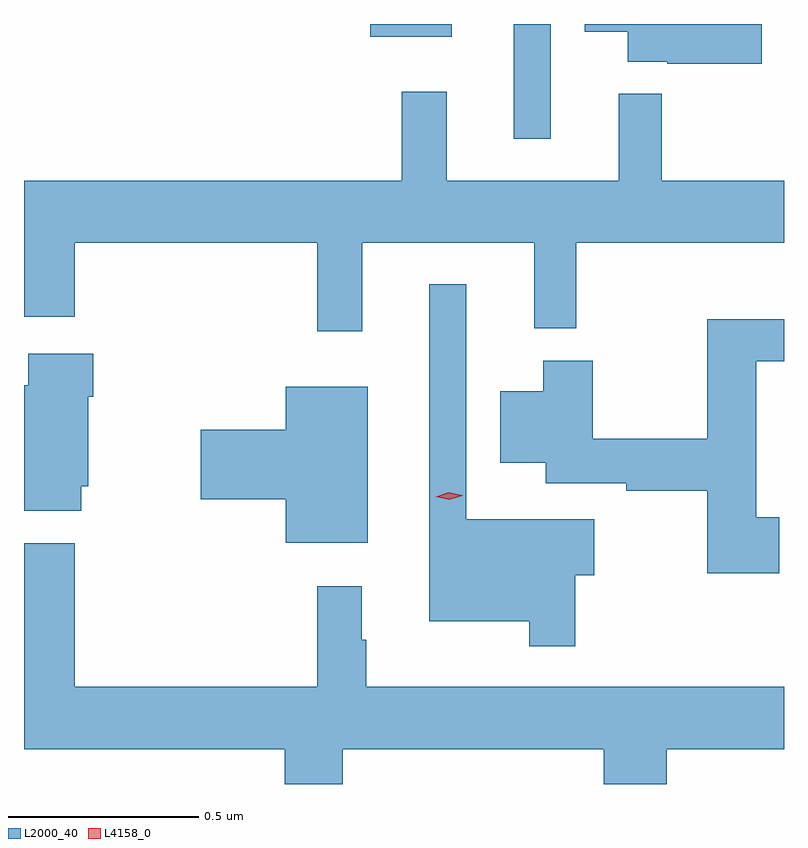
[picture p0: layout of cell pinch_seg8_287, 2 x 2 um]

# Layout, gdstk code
import gdstk
lib = gdstk.Library(unit=1e-6, precision=1e-09)
def R(c, l, rs):  # rectangles x0, y0, x1, y1
    for r in rs: c.add(gdstk.rectangle(r[:2], r[2:], *l))
def P(c, l, *ps):  # polygons
    for p in ps: c.add(gdstk.Polygon(p, *l))
L2000_40 = (2000, 40)
L4158_0 = (4158, 0)

pinch_seg8_287 = lib.new_cell('pinch_seg8_287')
R(pinch_seg8_287, L2000_40, [(528.704,1155.402,528.801,1155.704), (528.326,1155.671,528.541,1155.704)])
P(pinch_seg8_287, L2000_40, [(529.357,1155.704),(528.89,1155.704),(528.89,1155.683),(529.004,1155.683),(529.004,1155.605),(529.108,1155.605),(529.108,1155.6),(529.357,1155.6)],
  [(528.527,1155.526),(528.409,1155.526),(528.409,1155.292),(527.415,1155.292),(527.415,1154.934),(527.549,1154.934),(527.549,1155.128),(528.187,1155.128),(528.187,1154.895),(528.305,1154.895),(528.305,1155.128),(528.758,1155.128),(528.758,1154.903),(528.868,1154.903),(528.868,1155.128),(529.415,1155.128),(529.415,1155.292),(529.093,1155.292),(529.093,1155.52),(528.98,1155.52),(528.98,1155.292),(528.527,1155.292)],
  [(528.865,1154.254),(528.916,1154.254),(528.916,1154.401),(528.579,1154.401),(528.579,1155.019),(528.482,1155.019),(528.482,1154.132),(528.744,1154.132),(528.744,1154.067),(528.865,1154.067)],
  [(529.402,1154.406),(529.342,1154.406),(529.342,1154.817),(529.415,1154.817),(529.415,1154.927),(529.213,1154.927),(529.213,1154.612),(528.912,1154.612),(528.912,1154.818),(528.782,1154.818),(528.782,1154.737),(528.668,1154.737),(528.668,1154.549),(528.788,1154.549),(528.788,1154.496),(529,1154.496),(529,1154.476),(529.213,1154.476),(529.213,1154.258),(529.402,1154.258)],
  [(527.566,1154.487),(527.584,1154.487),(527.584,1154.723),(527.597,1154.723),(527.597,1154.836),(527.426,1154.836),(527.426,1154.754),(527.415,1154.754),(527.415,1154.423),(527.566,1154.423)],
  [(528.319,1154.749),(528.104,1154.749),(528.104,1154.636),(527.88,1154.636),(527.88,1154.453),(528.104,1154.453),(528.104,1154.339),(528.319,1154.339)],
  [(528.254,1153.796),(528.941,1153.796),(528.941,1153.704),(529.106,1153.704),(529.106,1153.796),(529.415,1153.796),(529.415,1153.96),(528.316,1153.96),(528.316,1154.084),(528.304,1154.084),(528.304,1154.224),(528.187,1154.224),(528.187,1153.96),(527.549,1153.96),(527.549,1154.338),(527.415,1154.338),(527.415,1153.796),(528.101,1153.796),(528.101,1153.704),(528.254,1153.704)])
P(pinch_seg8_287, L4158_0, [(528.534,1154.452),(528.498,1154.46),(528.498,1154.46),(528.498,1154.46),(528.533,1154.472),(528.568,1154.464),(528.569,1154.464),(528.568,1154.463)])

lib.write_gds('pinch_seg8_287.gds')
